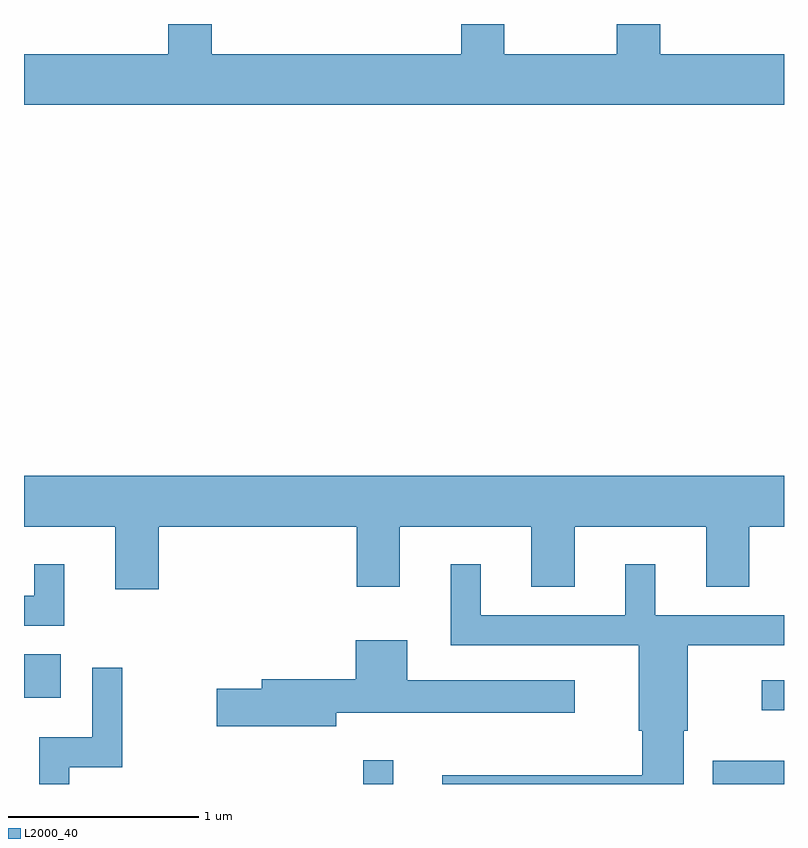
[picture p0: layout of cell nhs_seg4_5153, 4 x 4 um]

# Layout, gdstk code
import gdstk
lib = gdstk.Library(unit=1e-6, precision=1e-09)
def R(c, l, rs):  # rectangles x0, y0, x1, y1
    for r in rs: c.add(gdstk.rectangle(r[:2], r[2:], *l))
def P(c, l, *ps):  # polygons
    for p in ps: c.add(gdstk.Polygon(p, *l))
L2000_40 = (2000, 40)

nhs_seg4_5153 = lib.new_cell('nhs_seg4_5153')
R(nhs_seg4_5153, L2000_40, [(337.396,1359.982,337.554,1360.108), (339.236,1359.982,339.611,1360.104), (339.493,1360.371,339.611,1360.529), (335.611,1360.436,335.804,1360.664), (335.611,1363.981,335.799,1363.982)])
P(nhs_seg4_5153, L2000_40, [(339.611,1363.824),(338.959,1363.824),(338.959,1363.982),(338.731,1363.982),(338.731,1363.824),(338.139,1363.824),(338.139,1363.982),(337.911,1363.982),(337.911,1363.824),(336.599,1363.824),(336.599,1363.982),(336.371,1363.982),(336.371,1363.824),(335.611,1363.824),(335.611,1363.556),(339.611,1363.556)],
  [(335.611,1361.336),(336.091,1361.336),(336.091,1361.006),(336.319,1361.006),(336.319,1361.336),(337.361,1361.336),(337.361,1361.021),(337.589,1361.021),(337.589,1361.336),(338.281,1361.336),(338.281,1361.021),(338.509,1361.021),(338.509,1361.336),(339.201,1361.336),(339.201,1361.021),(339.429,1361.021),(339.429,1361.336),(339.611,1361.336),(339.611,1361.604),(335.611,1361.604)],
  [(335.824,1361.138),(335.666,1361.138),(335.666,1360.974),(335.611,1360.974),(335.611,1360.816),(335.824,1360.816)],
  [(339.084,1360.261),(339.104,1360.261),(339.104,1360.711),(339.611,1360.711),(339.611,1360.869),(338.934,1360.869),(338.934,1361.138),(338.776,1361.138),(338.776,1360.869),(338.014,1360.869),(338.014,1361.138),(337.856,1361.138),(337.856,1360.711),(338.846,1360.711),(338.846,1360.261),(338.866,1360.261),(338.866,1360.029),(337.813,1360.029),(337.813,1359.982),(339.084,1359.982)],
  [(337.254,1360.356),(338.509,1360.356),(338.509,1360.529),(337.629,1360.529),(337.629,1360.739),(337.356,1360.739),(337.356,1360.534),(336.861,1360.534),(336.861,1360.484),(336.626,1360.484),(336.626,1360.286),(337.254,1360.286)],
  [(335.849,1360.071),(336.129,1360.071),(336.129,1360.593),(335.971,1360.593),(335.971,1360.229),(335.691,1360.229),(335.691,1359.982),(335.849,1359.982)])

lib.write_gds('nhs_seg4_5153.gds')
